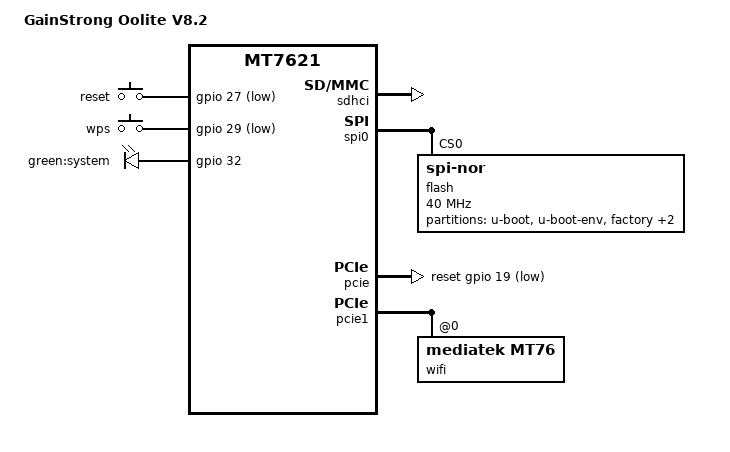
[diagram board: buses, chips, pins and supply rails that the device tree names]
#include "mt7621.dtsi"

#include <dt-bindings/gpio/gpio.h>
#include <dt-bindings/input/input.h>

/ {
	compatible = "gainstrong,oolite-v8.2", "mediatek,mt7621-soc";
	model = "GainStrong Oolite V8.2";

	keys {
		compatible = "gpio-keys";

		reset {
			label = "reset";
			gpios = <&gpio 27 GPIO_ACTIVE_LOW>;
			linux,code = <KEY_RESTART>;
		};

		wps {
			label = "wps";
			gpios = <&gpio 29 GPIO_ACTIVE_LOW>;
			linux,code = <KEY_WPS_BUTTON>;
		};
	};

	leds {
		compatible = "gpio-leds";

		system {
			label = "green:system";
			gpios = <&gpio 32 GPIO_ACTIVE_HIGH>;
		};
	};
};

&sdhci {
	status = "okay";
};

&spi0 {
	status = "okay";

	flash@0 {
		compatible = "jedec,spi-nor";
		reg = <0>;
		spi-max-frequency = <40000000>;
		m25p,fast-read;

		partitions {
			compatible = "gainstrong-dynamic-mtd";
			#address-cells = <1>;
			#size-cells = <1>;

			partition@0 {
				label = "u-boot";
				reg = <0x0 0x30000>;
				read-only;
			};

			partition@30000 {
				label = "u-boot-env";
				reg = <0x30000 0x10000>;
			};

			factory: partition@40000 {
				label = "factory";
				reg = <0x40000 0x10000>;
				read-only;
			};

			partition@50000 {
				compatible = "denx,uimage";
				label = "firmware";
				dynamic-end;
				reg = <0x50000 0x0>;
			};

			// Whole flash size, available for full flash backup
			all {
				label = "all";
				reg = <0x0 0x0>;
				read-only;
			};

		};
	};
};

&pcie {
	status = "okay";
	reset-gpios =
		// MT7915 reset
		<&gpio 19 GPIO_ACTIVE_LOW>,
	    <>,
		// MiniPCIe Slot1 reset
	    <&gpio 25 GPIO_ACTIVE_LOW>;
};

&pcie1 {
	wifi@0,0 {
		compatible = "mediatek,mt76";
		reg = <0x0000 0 0 0 0>;
		mediatek,mtd-eeprom = <&factory 0x0>;
	};
};

&factory {
	compatible = "nvmem-cells";
	#address-cells = <1>;
	#size-cells = <1>;

	macaddr_wifi: macaddr@4 {
		reg = <0x4 0x6>;
	};
};

&ethernet {
	pinctrl-0 = <&rgmii1_pins>;
};

&gmac0 {
	nvmem-cells = <&macaddr_wifi>;
	nvmem-cell-names = "mac-address";
	mac-address-increment = <2>;
};

&switch0 {
	ports {
		port@0 {
			status = "okay";
			label = "wan";
			nvmem-cells = <&macaddr_wifi>;
			nvmem-cell-names = "mac-address";
			mac-address-increment = <3>;
		};

		port@1 {
			status = "okay";
			label = "lan1";
		};

		port@2 {
			status = "okay";
			label = "lan2";
		};

		port@3 {
			status = "okay";
			label = "lan3";
		};

		port@4 {
			status = "okay";
			label = "lan4";
		};
	};
};

&state_default {
	gpio {
		groups = "jtag", "wdt", "rgmii2", "uart2", "uart3", "i2c";
		function = "gpio";
	};
};
